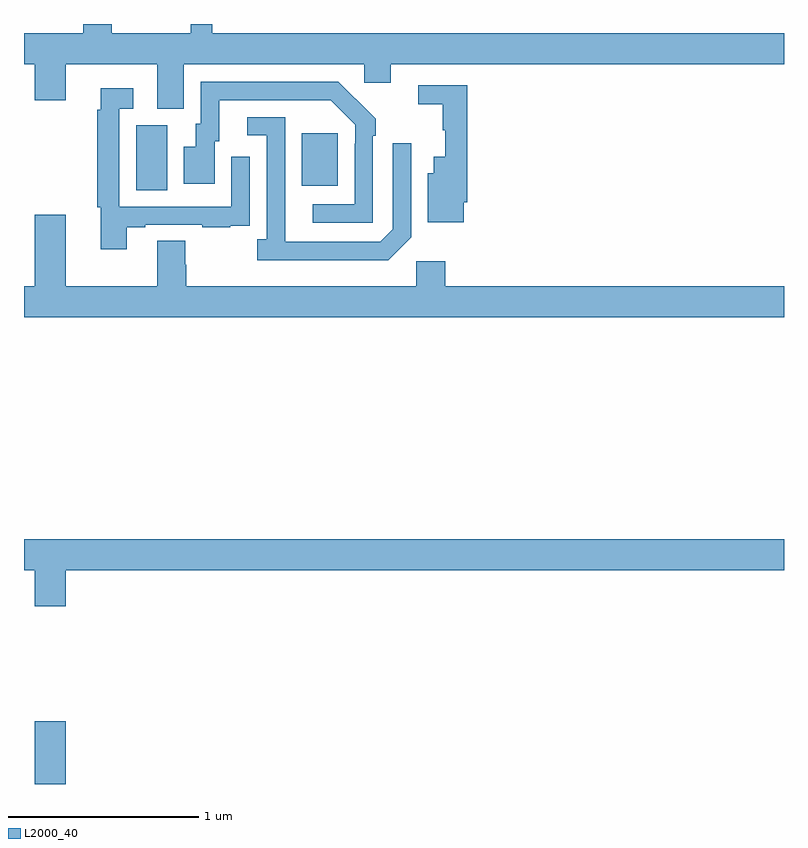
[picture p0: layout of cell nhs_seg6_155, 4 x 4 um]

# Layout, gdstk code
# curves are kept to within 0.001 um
import gdstk
lib = gdstk.Library(unit=1e-6, precision=1e-09)
def R(c, l, rs):  # rectangles x0, y0, x1, y1
    for r in rs: c.add(gdstk.rectangle(r[:2], r[2:], *l))
def P(c, l, *ps):  # polygons
    for p in ps: c.add(gdstk.Polygon(p, *l))
L2000_40 = (2000, 40)

nhs_seg6_155 = lib.new_cell('nhs_seg6_155')
R(nhs_seg6_155, L2000_40, [(117.056,991.5,117.22,991.831), (117.59,994.624,117.754,994.968), (118.463,994.649,118.651,994.924)])
P(nhs_seg6_155, L2000_40, [(117.841,995.288),(118.791,995.288),(118.791,995.19),(118.93,995.19),(118.93,995.288),(121,995.288),(121,995.452),(117.991,995.452),(117.991,995.5),(117.877,995.5),(117.877,995.452),(117.463,995.452),(117.463,995.5),(117.311,995.5),(117.311,995.452),(117,995.452),(117,995.288),(117.056,995.288),(117.056,995.1),(117.22,995.1),(117.22,995.288),(117.701,995.288),(117.701,995.053),(117.841,995.053)],
  [(118.836,994.913),(118.851,994.913),(118.851,995.001),(118.654,995.196),(117.93,995.196),(117.93,994.974),(117.905,994.974),(117.905,994.855),(117.842,994.855),(117.842,994.659),(118.003,994.659),(118.003,994.884),(118.027,994.884),(118.027,995.1),(118.615,995.1),(118.743,994.971),(118.743,994.871),(118.74,994.871),(118.74,994.551),(118.521,994.551),(118.521,994.455),(118.836,994.455)],
  [(119.314,994.561),(119.333,994.561),(119.333,995.178),(119.076,995.178),(119.076,995.077),(119.205,995.077),(119.205,994.941),(119.216,994.941),(119.216,994.801),(119.156,994.801),(119.156,994.714),(119.126,994.714),(119.126,994.457),(119.314,994.457)],
  [(117.541,994.431),(117.637,994.431),(117.637,994.443),(117.937,994.443),(117.937,994.431),(118.085,994.431),(118.085,994.437),(118.187,994.437),(118.187,994.546),(118.188,994.546),(118.188,994.801),(118.092,994.801),(118.092,994.539),(117.501,994.539),(117.501,995.055),(117.574,995.055),(117.574,995.161),(117.404,995.161),(117.404,995.048),(117.385,995.048),(117.385,994.536),(117.404,994.536),(117.404,994.314),(117.541,994.314)],
  [(119.037,994.377),(119.037,994.873),(118.941,994.873),(118.941,994.419),(118.875,994.353),(118.375,994.353),(118.374,995.01),(118.176,995.01),(118.176,994.914),(118.278,994.914),(118.278,994.366),(118.227,994.366),(118.227,994.256),(118.916,994.256)],
  [(121,994.12),(119.216,994.12),(119.216,994.252),(119.064,994.252),(119.064,994.12),(117.854,994.12),(117.854,994.233),(117.849,994.233),(117.849,994.358),(117.701,994.358),(117.701,994.12),(117.22,994.12),(117.22,994.495),(117.056,994.495),(117.056,994.12),(117,994.12),(117,993.956),(121,993.956)],
  [(117.22,992.624),(121,992.624),(121,992.788),(117,992.788),(117,992.624),(117.056,992.624),(117.056,992.436),(117.22,992.436)])

lib.write_gds('nhs_seg6_155.gds')
